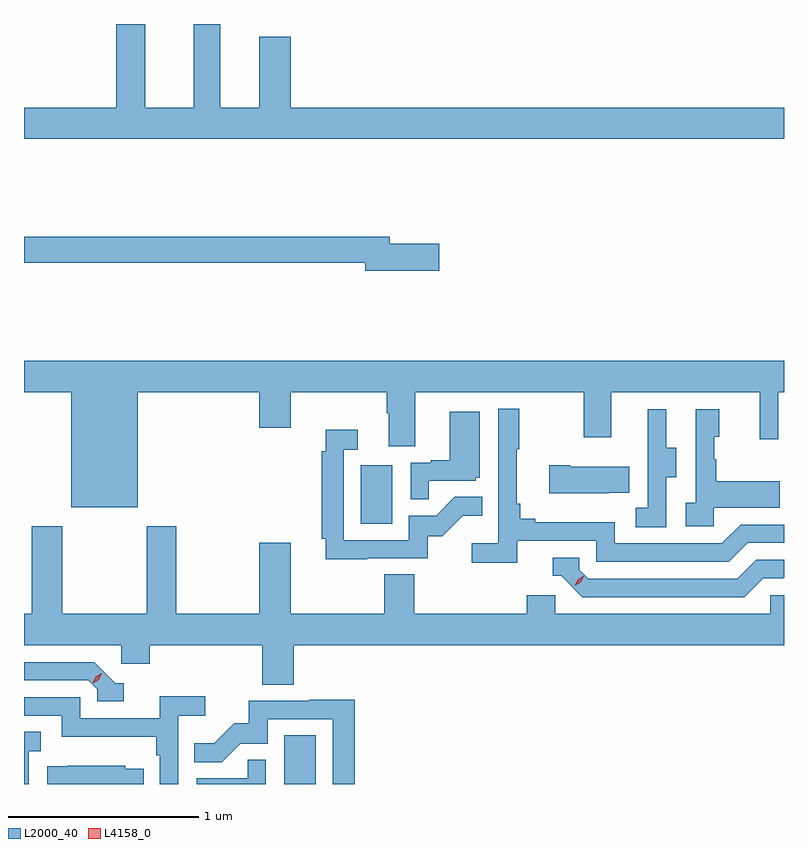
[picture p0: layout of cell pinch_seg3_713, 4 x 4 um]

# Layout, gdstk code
import gdstk
lib = gdstk.Library(unit=1e-6, precision=1e-09)
def R(c, l, rs):  # rectangles x0, y0, x1, y1
    for r in rs: c.add(gdstk.rectangle(r[:2], r[2:], *l))
def P(c, l, *ps):  # polygons
    for p in ps: c.add(gdstk.Polygon(p, *l))
L2000_40 = (2000, 40)
L4158_0 = (4158, 0)

pinch_seg3_713 = lib.new_cell('pinch_seg3_713')
R(pinch_seg3_713, L2000_40, [(1124.18,668.217,1124.344,668.473), (1124.582,669.588,1124.746,669.895)])
P(pinch_seg3_713, L2000_40, [(1126.809,671.776),(1124.212,671.776),(1124.212,672.151),(1124.048,672.151),(1124.048,671.776),(1123.843,671.776),(1123.843,672.217),(1123.703,672.217),(1123.703,671.776),(1123.447,671.776),(1123.447,672.217),(1123.295,672.217),(1123.295,671.776),(1122.809,671.776),(1122.809,671.612),(1126.809,671.612)],
  [(1124.995,671.06),(1124.734,671.06),(1124.734,671.096),(1122.809,671.096),(1122.809,670.96),(1124.606,670.96),(1124.606,670.918),(1124.995,670.918)],
  [(1123.408,670.28),(1124.048,670.28),(1124.048,670.092),(1124.212,670.092),(1124.212,670.28),(1124.717,670.28),(1124.717,670.168),(1124.729,670.168),(1124.729,669.994),(1124.869,669.994),(1124.869,670.28),(1125.754,670.28),(1125.754,670.041),(1125.901,670.041),(1125.901,670.28),(1126.682,670.28),(1126.682,670.032),(1126.779,670.032),(1126.779,670.28),(1126.809,670.28),(1126.809,670.444),(1122.809,670.444),(1122.809,670.28),(1123.058,670.28),(1123.058,669.674),(1123.408,669.674)],
  [(1125.404,669.498),(1125.822,669.498),(1125.822,669.387),(1126.519,669.387),(1126.618,669.486),(1126.809,669.486),(1126.809,669.582),(1126.581,669.582),(1126.482,669.483),(1125.918,669.483),(1125.918,669.595),(1125.499,669.595),(1125.499,669.614),(1125.422,669.614),(1125.422,669.691),(1125.403,669.691),(1125.403,669.979),(1125.415,669.979),(1125.415,670.192),(1125.306,670.192),(1125.306,669.484),(1125.165,669.484),(1125.165,669.382),(1125.404,669.382)],
  [(1126.44,669.671),(1126.787,669.671),(1126.787,669.811),(1126.453,669.811),(1126.453,669.926),(1126.443,669.926),(1126.443,670.044),(1126.468,670.044),(1126.468,670.189),(1126.344,670.189),(1126.344,669.698),(1126.293,669.698),(1126.293,669.573),(1126.44,669.573)],
  [(1126.188,669.832),(1126.243,669.832),(1126.243,669.987),(1126.189,669.987),(1126.189,670.189),(1126.091,670.189),(1126.091,669.975),(1126.092,669.975),(1126.092,669.671),(1126.029,669.671),(1126.029,669.568),(1126.188,669.568)],
  [(1124.939,669.813),(1125.186,669.813),(1125.186,669.828),(1125.208,669.828),(1125.208,670.177),(1125.05,670.177),(1125.05,669.922),(1124.951,669.922),(1124.951,669.909),(1124.844,669.909),(1124.844,669.715),(1124.939,669.715)],
  [(1124.615,669.405),(1124.934,669.405),(1124.934,669.522),(1125.01,669.522),(1125.117,669.629),(1125.221,669.629),(1125.221,669.728),(1125.077,669.728),(1124.979,669.63),(1124.835,669.63),(1124.835,669.501),(1124.493,669.501),(1124.493,669.975),(1124.566,669.975),(1124.566,670.081),(1124.396,670.081),(1124.396,669.968),(1124.377,669.968),(1124.377,669.508),(1124.396,669.508),(1124.396,669.4),(1124.615,669.4)],
  [(1125.887,669.749),(1125.995,669.749),(1125.995,669.886),(1125.685,669.886),(1125.685,669.894),(1125.573,669.894),(1125.573,669.746),(1125.887,669.746)],
  [(1124.228,668.948),(1126.809,668.948),(1126.809,669.21),(1126.737,669.21),(1126.737,669.112),(1125.606,669.112),(1125.606,669.21),(1125.455,669.21),(1125.455,669.112),(1124.864,669.112),(1124.864,669.32),(1124.704,669.32),(1124.704,669.112),(1124.212,669.112),(1124.212,669.487),(1124.048,669.487),(1124.048,669.112),(1123.611,669.112),(1123.611,669.574),(1123.456,669.574),(1123.456,669.112),(1123.011,669.112),(1123.011,669.574),(1122.851,669.574),(1122.851,669.112),(1122.809,669.112),(1122.809,668.948),(1123.32,668.948),(1123.32,668.85),(1123.472,668.85),(1123.472,668.948),(1124.063,668.948),(1124.063,668.74),(1124.228,668.74)],
  [(1126.699,669.3),(1126.806,669.3),(1126.806,669.303),(1126.809,669.303),(1126.809,669.396),(1126.662,669.396),(1126.563,669.297),(1125.78,669.297),(1125.732,669.345),(1125.732,669.408),(1125.593,669.408),(1125.593,669.312),(1125.636,669.312),(1125.747,669.201),(1126.6,669.201)],
  [(1123.333,668.748),(1123.29,668.748),(1123.179,668.859),(1122.809,668.859),(1122.809,668.763),(1123.146,668.763),(1123.194,668.715),(1123.194,668.652),(1123.333,668.652)],
  [(1123.62,668.576),(1123.762,668.576),(1123.762,668.678),(1123.523,668.678),(1123.523,668.562),(1123.104,668.562),(1123.104,668.673),(1122.809,668.673),(1122.809,668.577),(1123.008,668.577),(1123.008,668.465),(1123.504,668.465),(1123.504,668.369),(1123.524,668.369),(1123.524,668.217),(1123.62,668.217)],
  [(1124.549,668.66),(1124.311,668.66),(1124.311,668.655),(1123.993,668.655),(1123.993,668.538),(1123.916,668.538),(1123.809,668.431),(1123.705,668.431),(1123.705,668.332),(1123.849,668.332),(1123.947,668.43),(1124.091,668.43),(1124.091,668.559),(1124.433,668.559),(1124.433,668.217),(1124.549,668.217)],
  [(1122.834,668.389),(1122.898,668.389),(1122.898,668.492),(1122.809,668.492),(1122.809,668.217),(1122.834,668.217)],
  [(1124.082,668.345),(1123.987,668.345),(1123.987,668.247),(1123.718,668.247),(1123.718,668.217),(1124.082,668.217)],
  [(1123.439,668.296),(1123.341,668.296),(1123.341,668.314),(1123.039,668.314),(1123.039,668.311),(1122.931,668.311),(1122.931,668.217),(1123.439,668.217)])
P(pinch_seg3_713, L4158_0, [(1123.171,668.748),(1123.171,668.748),(1123.187,668.781),(1123.218,668.8),(1123.218,668.8),(1123.218,668.8),(1123.202,668.767),(1123.171,668.748)],
  [(1125.708,669.26),(1125.708,669.26),(1125.724,669.292),(1125.755,669.312),(1125.755,669.312),(1125.755,669.311),(1125.739,669.279),(1125.708,669.26)])

lib.write_gds('pinch_seg3_713.gds')
